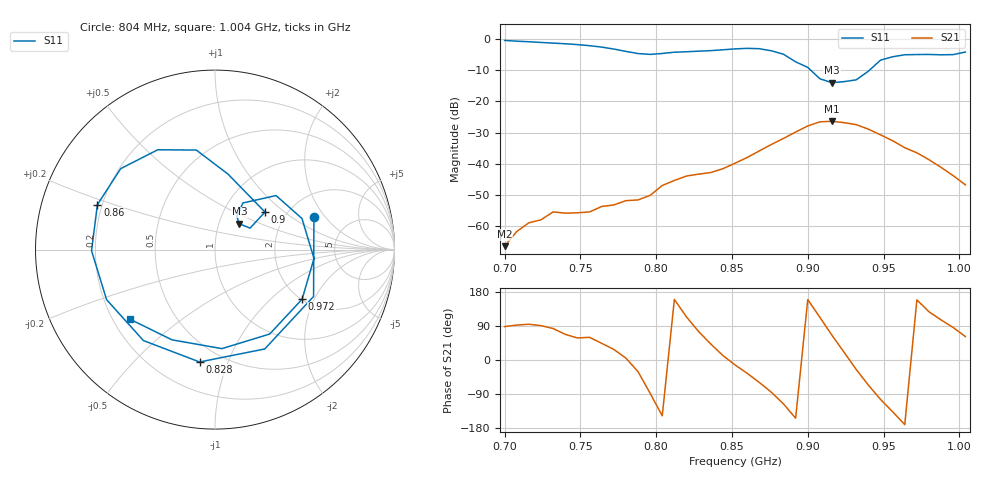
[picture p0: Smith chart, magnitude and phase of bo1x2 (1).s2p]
# Hz S RI R 50
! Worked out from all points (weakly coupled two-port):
!   39 points, 700 MHz to 1.004 GHz, reference 50 ohm
!   highest |S21| = -26.39 dB at 916 MHz (marker M1); lowest = -66.3 dB at 700 MHz (marker M2)
!   lowest |S11| = -14.1 dB at 916 MHz (marker M3), VSWR 1.49, Z = 62.7 + j18.7 ohm
!   |S11| at or under -10 dB: 901.8 MHz to 940.9 MHz (39.02 MHz wide, 4.24 % of centre)
!   S12 and S22 are empty: the file has one direction only
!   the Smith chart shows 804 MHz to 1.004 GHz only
!   S11 on the Smith chart (normalised r, x): 804 MHz: 2.82, +1.56; 828 MHz: 0.38, -0.80; 860 MHz: 0.18, +0.18; 900 MHz: 1.56, +0.74; 972 MHz: 2.02, -1.62; 1.004 GHz: 0.27, -0.33
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7e8  0.753 0.5588  1.52e-05 0.000484  0 0  0 0
7.24e8  0.8391 -0.2349  -1.71e-05 0.00128  0 0  0 0
7.4e8  0.4623 -0.6891  0.00062 0.00151  0 0  0 0
7.56e8  -0.1789 -0.7526  0.000854 0.00147  0 0  0 0
7.72e8  -0.6523 -0.2048  0.00195 0.00103  0 0  0 0
7.8e8  -0.59 0.212  0.00257 0.00023  0 0  0 0
7.88e8  -0.2535 0.5208  0.00228 -0.00135  0 0  0 0
7.96e8  0.2219 0.5158  0.000127 -0.00313  0 0  0 0
8.04e8  0.5512 0.1832  -0.00379 -0.00244  0 0  0 0
8.12e8  0.5492 -0.2612  -0.00509 0.00188  0 0  0 0
8.28e8  -0.0857 -0.626  0.00176 0.00663  0 0  0 0
8.52e8  -0.6877 -0.00641  0.00998 -0.00228  0 0  0 0
8.6e8  -0.6552 0.2505  0.0104 -0.00723  0 0  0 0
8.84e8  -0.1042 0.5546  -0.0112 -0.0229  0 0  0 0
9e8  0.2786 0.2091  -0.0378 0.0143  0 0  0 0
9.08e8  0.1953 0.1197  -0.0181 0.0433  0 0  0 0
9.16e8  0.1363 0.1436  0.0202 0.0434  0 0  0 0
9.4e8  0.1554 0.2597  0.0144 -0.0328  0 0  0 0
9.56e8  0.4846 0.1734  -0.017 -0.0161  0 0  0 0
9.72e8  0.4854 -0.2761  -0.014 0.00546  0 0  0 0
9.88e8  0.0386 -0.5517  -0.00238 0.00845  0 0  0 0
1.004e9  -0.4751 -0.3872  0.00218 0.00407  0 0  0 0
